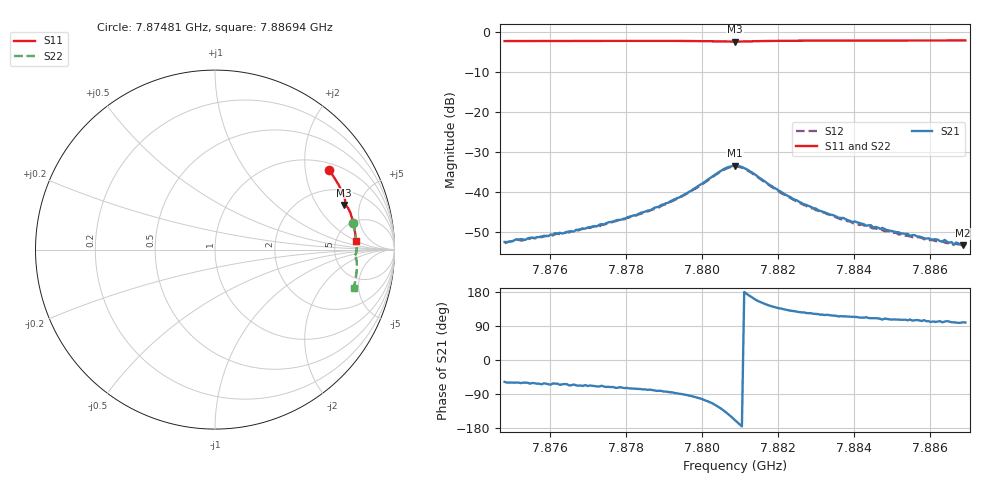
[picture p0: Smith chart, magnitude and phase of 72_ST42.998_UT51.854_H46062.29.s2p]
#  HZ  S  DB  R  50.00
! Rohde & Schwarz Vector Network Analyzer
! Rohde-Schwarz,ZNB20-2Port,1311601062101988,3.16
! Created: UTC 1/12/2023, 6:34:31 PM
! freq[Hz]  db:S11  ang:S11  db:S21  ang:S21  db:S12  ang:S12  db:S22  ang:S22
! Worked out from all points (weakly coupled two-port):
!   201 points, 7.87481 GHz to 7.88694 GHz, reference 50 ohm
!   highest |S21| = -33.42 dB at 7.88087 GHz (marker M1); lowest = -53.4 dB at 7.88688 GHz (marker M2)
!   lowest |S11| = -2.4 dB at 7.88087 GHz (marker M3), VSWR 7.41, Z = 150 + j178 ohm
!   |S11| at or under -10 dB: nowhere
!   |S22| runs from -2.2 to -1.9 dB; largest |S21 - S12| = 0.0014
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7.874806e9  -2.23 35.1  -52.51 -57.6  -52.81 -60.9  -2.14 11.1
7.876868e9  -2.19 29.4  -49.22 -68.6  -49.06 -71.4  -2.09 6.2
7.877293e9  -2.19 28.3  -48.25 -70.2  -48.74 -73.5  -2.07 5.2
7.87796e9  -2.18 26.4  -46.82 -74.2  -46.63 -76.7  -2.06 3.6
7.87887e9  -2.18 23.9  -43.65 -81.2  -43.90 -84.6  -2.05 1.5
7.879719e9  -2.19 21.5  -39.69 -94.9  -39.77 -98.4  -2.07 -0.7
7.880568e9  -2.31 19.3  -34.32 -133.0  -34.50 -136.4  -2.18 -2.6
7.880871e9  -2.36 19.1  -33.42 -158.9  -33.63 -162.1  -2.23 -2.6
7.881174e9  -2.31 18.8  -34.29 175.0  -34.47 171.6  -2.19 -2.7
7.882084e9  -2.17 16.5  -39.99 135.8  -40.29 131.7  -2.03 -4.5
7.882933e9  -2.13 14.1  -44.04 122.0  -44.13 118.9  -1.98 -6.6
7.883964e9  -2.11 11.3  -47.53 114.1  -47.78 109.7  -1.96 -9.0
7.884935e9  -2.10 8.7  -49.66 107.3  -49.91 103.4  -1.94 -11.1
7.885966e9  -2.08 6.1  -51.58 102.4  -52.14 99.6  -1.93 -13.4
7.88633e9  -2.08 5.1  -52.41 99.4  -52.40 98.4  -1.92 -14.1
7.886391e9  -2.08 4.9  -51.98 101.4  -52.64 98.3  -1.93 -14.3
7.886573e9  -2.08 4.5  -52.55 99.6  -53.41 100.0  -1.93 -14.7
7.886633e9  -2.08 4.3  -53.17 99.5  -53.11 98.2  -1.92 -14.8
7.886694e9  -2.08 4.2  -52.64 98.9  -52.99 96.7  -1.92 -14.9
7.886815e9  -2.08 3.8  -53.23 98.4  -52.93 97.3  -1.92 -15.2
7.886876e9  -2.08 3.6  -53.37 99.6  -53.46 95.0  -1.91 -15.3
7.886937e9  -2.07 3.5  -53.09 99.0  -53.56 95.4  -1.92 -15.4
